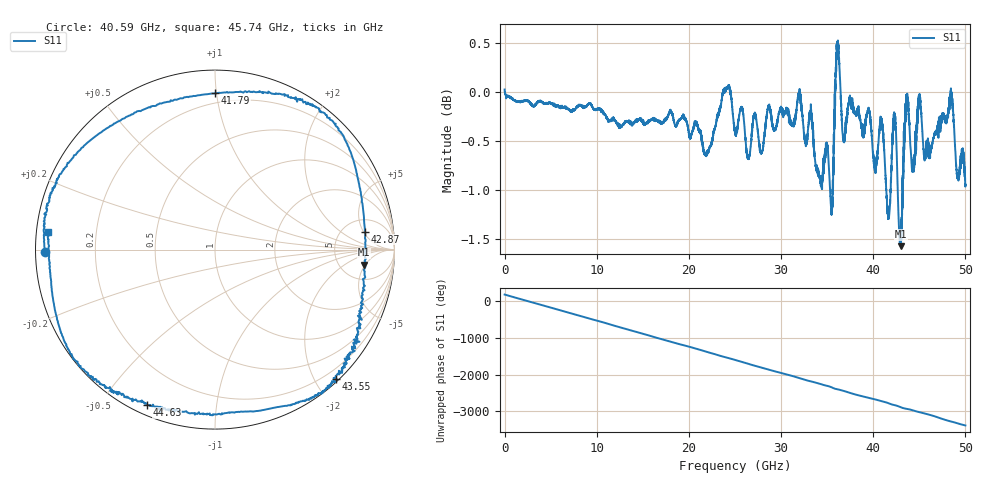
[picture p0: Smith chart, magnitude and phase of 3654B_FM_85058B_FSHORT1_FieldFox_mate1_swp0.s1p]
!Created with skrf (http://scikit-rf.org).
# Hz S RI R 50.0
!freq ReS11 ImS11
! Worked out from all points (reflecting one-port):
!   10000 points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, 5.3 MHz to 50 GHz, reference 50 ohm
!   lowest |S11| = -1.6 dB at 42.99 GHz (marker M1), VSWR 11.08, Z = 422 - j234 ohm
!   phase of S11 starts at 180 deg and turns -3561 deg over the sweep
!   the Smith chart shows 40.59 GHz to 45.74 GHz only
!   S11 on the Smith chart (normalised r, x): 40.59 GHz: 0.03, -0.01; 41.79 GHz: 0.14, +0.99; 42.87 GHz: 7.86, +5.40; 43.55 GHz: 0.04, -2.31; 44.63 GHz: 0.04, -0.65; 45.74 GHz: 0.03, +0.05
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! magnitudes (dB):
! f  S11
! 5.3 MHz  0.0
! 6.255 GHz  -0.2
! 12.51 GHz  -0.4
! 18.76 GHz  -0.3
! 21.92 GHz  -0.6
! 24.22 GHz  0.1
! 25.01 GHz  -0.4
! 31.26 GHz  -0.3
! 33.22 GHz  -0.2
! 35.45 GHz  -1.2
! 36.12 GHz  0.4
! 36.79 GHz  -0.5
! 37.51 GHz  -0.1
! 40.59 GHz  -0.5
! 40.95 GHz  -0.4
! 41.79 GHz  -1.2
! 42.31 GHz  -0.2
! 42.87 GHz  -1.5
! 42.99 GHz  -1.6
! 43.55 GHz  -0.1
! 43.76 GHz  -0.1
! 44.26 GHz  -0.8
! 44.63 GHz  -0.5
! 45.03 GHz  -0.1
! 45.74 GHz  -0.6
! 48.43 GHz  -0.1
! 49.13 GHz  -0.9
! 50 GHz  -0.9
